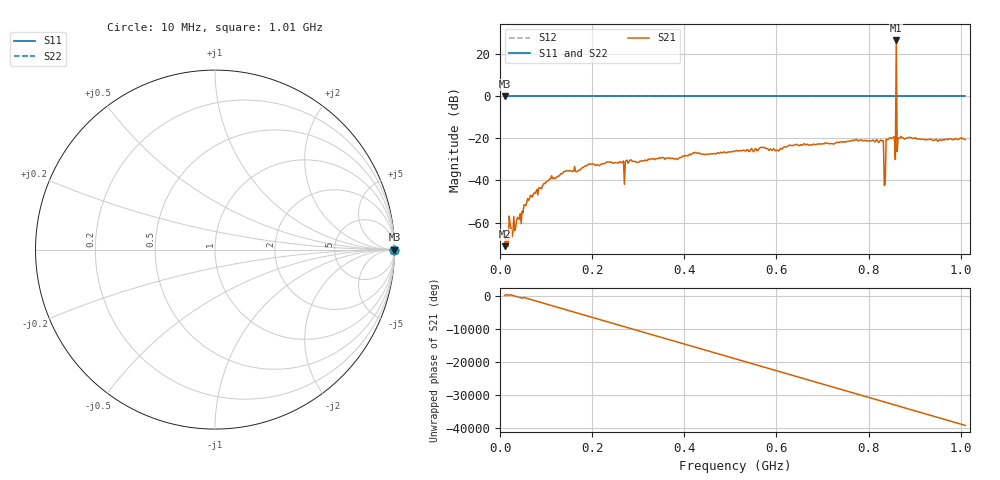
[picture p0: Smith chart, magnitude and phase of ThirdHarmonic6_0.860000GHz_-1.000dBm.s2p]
! 8/16/2025 4:26:25 AM
! C:\ANRITSUVNA\TEMP\TEMP.S2P
! CHANNEL.1
! TR.MEASUREMENT
! RAW.DATA
! RF.CORRECTION.OFF
! AVERAGING.OFF
! IF.BANDWIDTH: 5KHZ
! SWEEPTYPE:  FREQ.SWEEP(Linear)
! Reference Plane Port Info
! PORT:  PORT1  PORT2
! DISTANCE:  0  m  0  m
! TIME:  0  s  0  s
! PHASE.OFFSET:  0  deg.  0  deg.
! LOSS:  0  dB  0  dB
! REF.LOSS:  0  dB  0  dB
! REF.FREQ:  0  Hz  0  Hz
! Power Info
! POWER:  -20  dBm  -20  dBm
! EFF.POWER:  -20  dBm  -20  dBm
! SOURCE.ATTEN:  0  dB  0  dB
! TEST.ATTEN:  0  dB  0  dB
# GHZ S RI R 50.0
! FREQ.GHZ  S11RE  S11IM  S21RE  S21IM  S12RE  S12IM  S22RE  S22IM
!; PortSelection: Port_12
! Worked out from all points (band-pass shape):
!   501 points, 10 MHz to 1.01 GHz, reference 50 ohm
!   highest |S21| = 26.41 dB at 860 MHz (marker M1); lowest = -71.2 dB at 10 MHz (marker M2)
!   |S21| within 3 dB of the highest: 859.8938 MHz to 860.1139 MHz (220.1 kHz wide, 0.0256 % of centre)
!   lowest |S11| = 0.0 dB at 10 MHz (marker M3)
!   |S11| at or under -10 dB: nowhere
!   |S22| runs from 0.0 to 0.0 dB; largest |S21 - S12| = 20
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0.01  1 0  -0.000128 0.000246  1 0  1 0
0.014  1 0  0.000124 0.000258  1 0  1 0
0.02  1 0  -0.000459 -0.00136  1 0  1 0
0.03  1 0  0.00124 0.000645  1 0  1 0
0.064  1 0  -0.00284 0.00239  1 0  1 0
0.108  1 0  -0.00802 0.00735  1 0  1 0
0.178  1 0  -0.0197 -0.00354  1 0  1 0
0.268  1 0  -0.0253 0.014  1 0  1 0
0.344  1 0  0.031 -0.012  1 0  1 0
0.51  1 0  -0.0403 0.03  1 0  1 0
0.678  1 0  -0.0532 -0.0448  1 0  1 0
0.828  1 0  0.0233 -0.0855  1 0  1 0
0.832  1 0  -0.0537 0.0702  1 0  1 0
0.838  1 0  -0.0406 -0.087  1 0  1 0
0.842  1 0  0.00858 0.0923  1 0  1 0
0.844  1 0  0.0962 0.0123  1 0  1 0
0.854  1 0  0.0782 -0.0742  1 0  1 0
0.856  1 0  -0.0636 -0.086  1 0  1 0
0.86  1 0  18.32 10.08  1 0  1 0
0.864  1 0  -0.00301 -0.1021  1 0  1 0
0.866  1 0  -0.1001 -0.0161  1 0  1 0
1.01  1 0  -0.0698 0.0623  1 0  1 0
